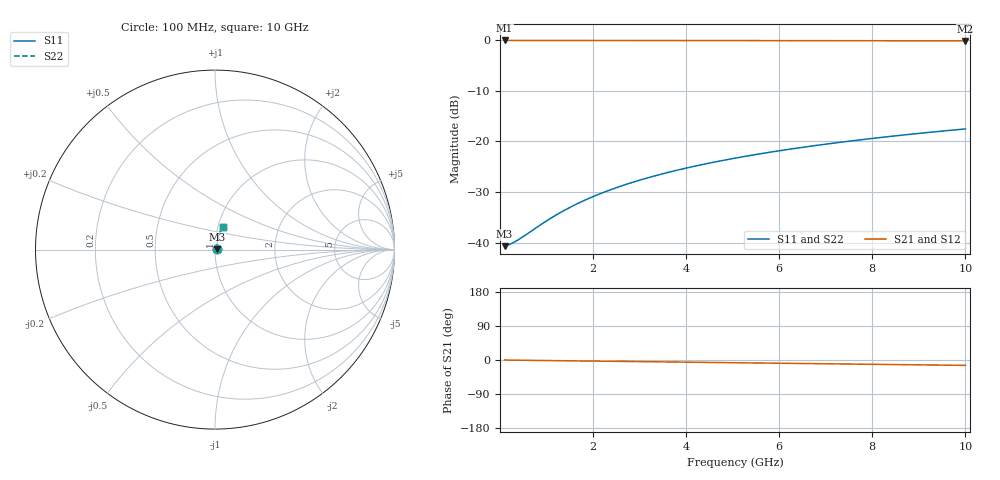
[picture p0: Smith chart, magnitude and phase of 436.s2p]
# Hz S RI R 50.00
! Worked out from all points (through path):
!   100 points, 100 MHz to 10 GHz, reference 50 ohm
!   highest |S21| = -0.08 dB at 100 MHz (marker M1); lowest = -0.2 dB at 10 GHz (marker M2)
!   group delay of S21, straight-line fit = 3.94 ps
!   lowest |S11| = -40.7 dB at 100 MHz (marker M3), VSWR 1.02, Z = 50.9 + j0.135 ohm
!   |S11| at or under -10 dB: start of sweep to end of sweep
!   |S22| runs from -40.7 to -17.5 dB; largest |S21 - S12| = 0
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1e8  0.00916 0.00132  0.9908 -0.00246  0.9908 -0.00246  0.00916 0.00132
2e8  0.00923 0.00265  0.9908 -0.00493  0.9908 -0.00493  0.00923 0.00265
3e8  0.00929 0.00397  0.9907 -0.00739  0.9907 -0.00739  0.00929 0.00397
4e8  0.00935 0.00529  0.9906 -0.00985  0.9906 -0.00985  0.00935 0.00529
1e9  0.00977 0.0132  0.9902 -0.0246  0.9902 -0.0246  0.00977 0.0132
1.3e9  0.01 0.0172  0.9898 -0.032  0.9898 -0.032  0.01 0.0172
1.5e9  0.0103 0.0198  0.9896 -0.0369  0.9896 -0.0369  0.0103 0.0198
1.8e9  0.0106 0.0238  0.9891 -0.0443  0.9891 -0.0443  0.0106 0.0238
2.1e9  0.011 0.0277  0.9886 -0.0517  0.9886 -0.0517  0.011 0.0277
2.5e9  0.0117 0.0329  0.9879 -0.0615  0.9879 -0.0615  0.0117 0.0329
2.9e9  0.0124 0.0382  0.987 -0.0713  0.987 -0.0713  0.0124 0.0382
3.4e9  0.0135 0.0447  0.9857 -0.0835  0.9857 -0.0835  0.0135 0.0447
3.8e9  0.0145 0.0499  0.9845 -0.0932  0.9845 -0.0932  0.0145 0.0499
4.2e9  0.0156 0.055  0.9832 -0.103  0.9832 -0.103  0.0156 0.055
4.6e9  0.0167 0.0602  0.9818 -0.1127  0.9818 -0.1127  0.0167 0.0602
5.1e9  0.0183 0.0665  0.9799 -0.1248  0.9799 -0.1248  0.0183 0.0665
5.9e9  0.0212 0.0766  0.9764 -0.144  0.9764 -0.144  0.0212 0.0766
6.7e9  0.0245 0.0866  0.9724 -0.1631  0.9724 -0.1631  0.0245 0.0866
7.5e9  0.0282 0.0964  0.968 -0.1821  0.968 -0.1821  0.0282 0.0964
8.4e9  0.0328 0.1073  0.9625 -0.2033  0.9625 -0.2033  0.0328 0.1073
9.2e9  0.0373 0.1167  0.9571 -0.2219  0.9571 -0.2219  0.0373 0.1167
1e10  0.0421 0.1259  0.9512 -0.2403  0.9512 -0.2403  0.0421 0.1259
